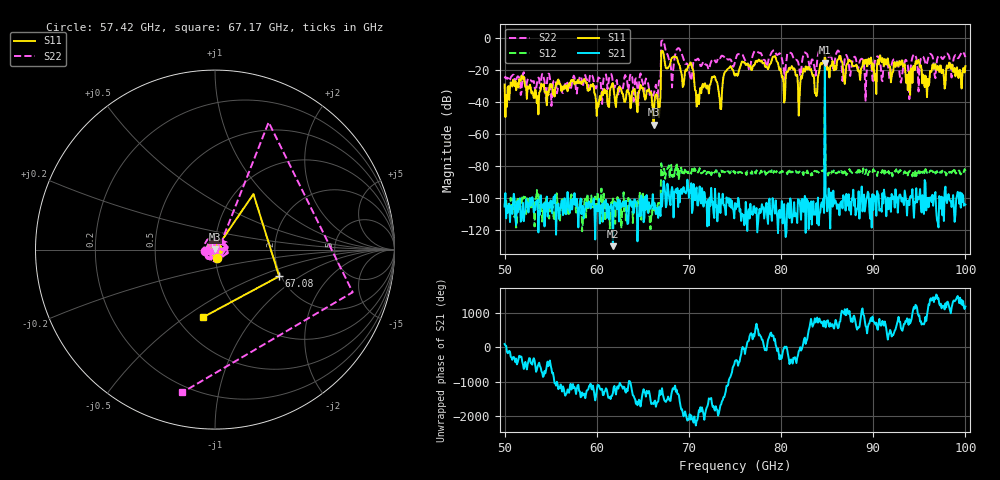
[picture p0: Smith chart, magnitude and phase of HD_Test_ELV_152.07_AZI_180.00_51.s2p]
! 11/25/2026 9:28:45 AM
! C:\ANRITSUVNA\TEMP\TEMP.S2P
! CHANNEL.1
! TR.MEASUREMENT
! RAW.DATA
# HZ S RI R 50.0
! FREQ.HZ  S11RE  S11IM  S21RE  S21IM  S12RE  S12IM  S22RE  S22IM
!; PortSelection: Port_12
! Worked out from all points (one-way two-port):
!   601 points, 50 GHz to 100 GHz, reference 50 ohm
!   highest |S21| = -15.56 dB at 84.75 GHz (marker M1); lowest = -130.0 dB at 61.75 GHz (marker M2)
!   lowest |S11| = -54.3 dB at 66.17 GHz (marker M3), VSWR 1.00, Z = 50.1 + j0.148 ohm
!   |S11| at or under -10 dB: start of sweep to 67 GHz; 67.24 GHz to end of sweep
!   |S22| runs from -42.6 to -1.8 dB; largest |S21 - S12| = 0.19
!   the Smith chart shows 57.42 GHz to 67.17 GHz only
!   S11 on the Smith chart (normalised r, x): 57.42 GHz: 1.02, -0.10; 67.08 GHz: 1.95, -0.68; 67.17 GHz: 0.67, -0.59
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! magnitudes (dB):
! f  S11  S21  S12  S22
! 50 GHz  -29.2  -105.3  -105.3  -25.4
! 57.42 GHz  -26.3  -100.4  -103.4  -25.2
! 58.42 GHz  -27.2  -106.4  -120.7  -29.0
! 60.17 GHz  -43.1  -104.2  -100.6  -24.8
! 61.75 GHz  -28.4  -130.0  -100.3  -28.4
! 66.17 GHz  -54.3  -106.8  -103.8  -35.4
! 66.67 GHz  -42.0  -112.4  -103.0  -32.2
! 67.08 GHz  -8.2  -105.2  -83.3  -1.9
! 67.17 GHz  -8.4  -97.4  -85.8  -1.8
! 70.17 GHz  -15.4  -96.8  -83.9  -25.7
! 70.92 GHz  -40.8  -104.5  -84.8  -13.3
! 75 GHz  -23.7  -103.1  -84.7  -15.0
! 79.25 GHz  -11.8  -105.4  -83.2  -7.9
! 80.25 GHz  -27.6  -108.4  -83.5  -17.6
! 83.42 GHz  -23.8  -104.6  -85.6  -13.6
! 83.83 GHz  -36.5  -103.2  -83.6  -19.5
! 84.75 GHz  -10.8  -15.6  -31.1  -10.8
! 91.67 GHz  -16.7  -107.0  -83.1  -20.4
! 93.75 GHz  -32.7  -102.0  -85.9  -17.2
! 94.83 GHz  -15.0  -99.3  -85.0  -20.3
! 95.83 GHz  -37.1  -100.4  -84.3  -15.9
! 100 GHz  -17.7  -104.1  -83.3  -12.1
